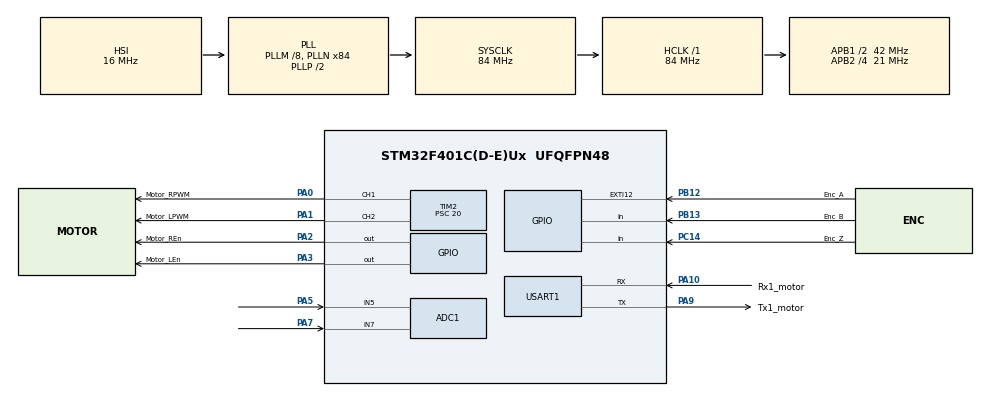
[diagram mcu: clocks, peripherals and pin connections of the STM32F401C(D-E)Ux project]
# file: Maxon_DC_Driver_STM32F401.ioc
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ADC1.Channel-0\#ChannelRegularConversion=ADC_CHANNEL_5
ADC1.Channel-1\#ChannelRegularConversion=ADC_CHANNEL_7
ADC1.ClockPrescaler=ADC_CLOCK_SYNC_PCLK_DIV8
ADC1.ContinuousConvMode=ENABLE
ADC1.DMAContinuousRequests=ENABLE
ADC1.EOCSelection=ADC_EOC_SEQ_CONV
ADC1.InjNumberOfConversion=0
ADC1.NbrOfConversion=2
ADC1.NbrOfConversionFlag=1
ADC1.Rank-0\#ChannelRegularConversion=1
ADC1.Rank-1\#ChannelRegularConversion=2
ADC1.SamplingTime-0\#ChannelRegularConversion=ADC_SAMPLETIME_480CYCLES
ADC1.SamplingTime-1\#ChannelRegularConversion=ADC_SAMPLETIME_480CYCLES
ADC1.ScanConvMode=ENABLE
ADC1.master=1
Dma.ADC1.0.Direction=DMA_PERIPH_TO_MEMORY
Dma.ADC1.0.FIFOMode=DMA_FIFOMODE_DISABLE
Dma.ADC1.0.Instance=DMA2_Stream0
Dma.ADC1.0.MemDataAlignment=DMA_MDATAALIGN_WORD
Dma.ADC1.0.MemInc=DMA_MINC_ENABLE
Dma.ADC1.0.Mode=DMA_CIRCULAR
Dma.ADC1.0.PeriphDataAlignment=DMA_PDATAALIGN_WORD
Dma.ADC1.0.PeriphInc=DMA_PINC_DISABLE
Dma.ADC1.0.Priority=DMA_PRIORITY_LOW
Dma.Request0=ADC1
Dma.Request1=USART1_RX
Dma.USART1_RX.1.Direction=DMA_PERIPH_TO_MEMORY
Dma.USART1_RX.1.FIFOMode=DMA_FIFOMODE_DISABLE
Dma.USART1_RX.1.Instance=DMA2_Stream2
Dma.USART1_RX.1.MemDataAlignment=DMA_MDATAALIGN_BYTE
Dma.USART1_RX.1.MemInc=DMA_MINC_ENABLE
Dma.USART1_RX.1.Mode=DMA_NORMAL
Dma.USART1_RX.1.PeriphDataAlignment=DMA_PDATAALIGN_BYTE
Dma.USART1_RX.1.PeriphInc=DMA_PINC_DISABLE
Dma.USART1_RX.1.Priority=DMA_PRIORITY_LOW
Mcu.Family=STM32F4
Mcu.Name=STM32F401C(D-E)Ux
Mcu.Package=UFQFPN48
NVIC.DMA2_Stream0_IRQn=true\:3\:0\:true\:false\:true\:false\:true\:true
NVIC.DMA2_Stream2_IRQn=true\:0\:0\:false\:false\:true\:false\:true\:true
NVIC.EXTI15_10_IRQn=true\:0\:0\:false\:false\:true\:true\:true\:true
NVIC.PriorityGroup=NVIC_PRIORITYGROUP_4
NVIC.USART1_IRQn=true\:0\:0\:false\:false\:true\:true\:true\:true
PA0-WKUP.GPIO_Label=Motor_RPWM
PA0-WKUP.Signal=S_TIM2_CH1_ETR
PA1.GPIO_Label=Motor_LPWM
PA1.Signal=S_TIM2_CH2
PA10.GPIO_Label=Rx1_motor
PA10.Mode=Asynchronous
PA10.Signal=USART1_RX
PA13.Mode=Serial_Wire
PA13.Signal=SYS_JTMS-SWDIO
PA14.Mode=Serial_Wire
PA14.Signal=SYS_JTCK-SWCLK
PA2.GPIO_Label=Motor_REn
PA2.Signal=GPIO_Output
PA3.GPIO_Label=Motor_LEn
PA3.Signal=GPIO_Output
PA5.Signal=ADCx_IN5
PA7.Signal=ADCx_IN7
PA9.GPIO_Label=Tx1_motor
PA9.Mode=Asynchronous
PA9.Signal=USART1_TX
PB12.GPIO_Label=Enc_A
PB12.Signal=GPXTI12
PB13.GPIO_Label=Enc_B
PB13.Signal=GPIO_Input
PC14-OSC32_IN.GPIO_Label=Enc_Z
PC14-OSC32_IN.Signal=GPIO_Input
PH0\ -\ OSC_IN.Mode=HSE-External-Oscillator
PH0\ -\ OSC_IN.Signal=RCC_OSC_IN
PH1\ -\ OSC_OUT.Mode=HSE-External-Oscillator
PH1\ -\ OSC_OUT.Signal=RCC_OSC_OUT
ProjectManager.HeapSize=0x200
ProjectManager.StackSize=0x400
ProjectManager.TargetToolchain=MDK-ARM V5.32
RCC.48MHZClocksFreq_Value=42000000
RCC.AHBFreq_Value=84000000
RCC.APB1CLKDivider=RCC_HCLK_DIV2
RCC.APB1Freq_Value=42000000
RCC.APB1TimFreq_Value=84000000
RCC.APB2CLKDivider=RCC_HCLK_DIV4
RCC.APB2Freq_Value=21000000
RCC.APB2TimFreq_Value=42000000
RCC.CortexFreq_Value=84000000
RCC.HCLKFreq_Value=84000000
RCC.HSE_VALUE=25000000
RCC.HSI_VALUE=16000000
RCC.LSE_VALUE=32768
RCC.PLLM=8
RCC.PLLN=84
RCC.SYSCLKFreq_VALUE=84000000
RCC.SYSCLKSource=RCC_SYSCLKSOURCE_PLLCLK
RCC.VCOOutputFreq_Value=168000000
SH.ADCx_IN5.0=ADC1_IN5,IN5
SH.ADCx_IN7.0=ADC1_IN7,IN7
SH.S_TIM2_CH1_ETR.0=TIM2_CH1,PWM Generation1 CH1
SH.S_TIM2_CH2.0=TIM2_CH2,PWM Generation2 CH2
TIM2.AutoReloadPreload=TIM_AUTORELOAD_PRELOAD_ENABLE
TIM2.Channel-PWM\ Generation1\ CH1=TIM_CHANNEL_1
TIM2.Channel-PWM\ Generation2\ CH2=TIM_CHANNEL_2
TIM2.Period=199
TIM2.Prescaler=20
TIM4.Prescaler=83
USART1.VirtualMode=VM_ASYNC
VP_TIM2_VS_ClockSourceINT.Mode=Internal
VP_TIM4_VS_ClockSourceINT.Mode=Internal
board=custom

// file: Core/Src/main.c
/* USER CODE BEGIN Header */
/**
  ******************************************************************************
  * @file           : main.c
  * @brief          : Main program body
  ******************************************************************************
  * @attention
  *
  * Copyright (c) 2023 STMicroelectronics.
  * All rights reserved.
  *
  * This software is licensed under terms that can be found in the LICENSE file
  * in the root directory of this software component.
  * If no LICENSE file comes with this software, it is provided AS-IS.
  *
  ******************************************************************************
  */
/* USER CODE END Header */
#include "main.h"

/* USER CODE BEGIN PD */
#define ENC_PULSE_PER_ROUND 6125
#define PI 3.14159
#define ENC_PULSE_2_RAD 0.00102582 // 2*PI/ENC_PULSE_PER_ROUND

#define CURRENT_CONTROL_MODE 1
#define POSITION_CONTROL_MODE 2
#define SPEED_CONTROL_MODE 3

#define TOTAL_PACKET_SIZE 8

#define LOADCELL_DATA_ID 1

#define SET_MOTOR_POSITION_SP_ID 21
#define SET_MOTOR_SPEED_SP_ID 22
#define SET_MOTOR_CURRENT_SP_ID 23
#define SET_MOTOR_EMERGENCY_STOP_ID 24
#define EMERGENCY_STOP_MOTOR_ID 27

/* USER CODE END PD */

 ADC_HandleTypeDef hadc1;
DMA_HandleTypeDef hdma_adc1;

TIM_HandleTypeDef htim2;
TIM_HandleTypeDef htim4;

UART_HandleTypeDef huart1;
DMA_HandleTypeDef hdma_usart1_rx;

/* USER CODE BEGIN PV */
uint32_t adc_buff[2];
float vsense = 3.3/4095;

double MOTOR_SIGN = 1;
double I_motor_acs712 , I_motor_MAX4080 =0;
double I_motor_acs712_filtered , I_motor_MAX4080_filtered =0 , alpha_adc_acs = 0.8 ,alpha_adc_max4080 = 0.6;

int32_t encoder_pulse = 0;
double sp_pos_rad , sp_speed , sp_current;
double encoder_rad = 0 , encoder_rad_last , encoder_speed , encoder_speed_filtered , encoder_speed_last;
double alpha_speed = 0.8;
uint32_t dt = 0, last_t1 = 0;

volatile uint8_t convCompleted = 0;

double motor_voltage_dir = 1.0;
int32_t pwm_i = 0;
uint16_t p1,p2;
float p = 0;

double control_sigal,ff_curr=0.5,err_curr_dot,pid_out,last_err_curr,err_curr_dot,err_curr,fb_curr,sum_err_curr=0 , current_sign=1;
double K_d_curr = 0.0 ,K_p_curr = 2.5 ,K_i_curr = 0.1;

double err_pos,err_pos_dot,sum_err_pos,ff_pos ;
double K_p_pos = 10 , K_d_pos = 0.1 , K_i_pos = 0;

double err_speed , err_speed_dot , last_err_speed , sum_err_speed , ff_speed = 0 ;
double K_p_speed = 2.0 , K_d_speed = 0.00 , K_i_speed = 2.0;

uint8_t UART1_rxBuffer[TOTAL_PACKET_SIZE], buff_1[TOTAL_PACKET_SIZE];
int is_uart1_single_byte_recieved = 1;
int32_t i, ii , i2;

double POWER_SUPLY_MAX_VOLTAGE = 16.0;
uint8_t control_mode = CURRENT_CONTROL_MODE;

/* USER CODE END PV */

void SystemClock_Config(void);
static void MX_GPIO_Init(void);
static void MX_DMA_Init(void);
static void MX_ADC1_Init(void);
static void MX_TIM4_Init(void);
static void MX_TIM2_Init(void);
static void MX_USART1_UART_Init(void);

/* USER CODE BEGIN 0 */
void HAL_GPIO_EXTI_Callback(uint16_t GPIO_Pin)
{
    if(GPIO_Pin == GPIO_PIN_12) // If The INT Source Is EXTI Line9 (A9 Pin)
    {
			if(HAL_GPIO_ReadPin(Enc_B_GPIO_Port , Enc_B_Pin) == 1)
				encoder_pulse++;
			else
				encoder_pulse--;
    }
}
void HAL_ADC_ConvCpltCallback(ADC_HandleTypeDef* hadc)
{
	I_motor_acs712 = 0.004959*((double)adc_buff[0]) -13.61;		// ASC is faster but not precise
	I_motor_MAX4080 = 0.0008734*((double)adc_buff[1]) -0.01224 ;	// MAX4080 is more precise but has RC filter
	I_motor_acs712_filtered = alpha_adc_acs*I_motor_acs712_filtered + (1.0 - alpha_adc_acs)*I_motor_acs712;
	I_motor_MAX4080_filtered = alpha_adc_max4080*I_motor_MAX4080_filtered + (1.0 - alpha_adc_max4080)*I_motor_MAX4080;
}

double saturation_f(double a , double min_ , double max_)
{
	if (a > max_)
		return max_;
	else if (a < min_)
		return  min_;
	else
		return a;
}
int32_t saturation_i(int32_t a , int32_t min_ , int32_t max_)
{
	if (a > max_)
		return max_;
	else if (a < min_)
		return  min_;
	else
		return a;
}
double abs_f(double a)
{
		if (a<0)
			return -a;
		return a;
}

void set_motor_percent(double p )	// p --> -100 to 100
{
		if (p > 0)
			motor_voltage_dir = 1;
		else if (p < 0)
			motor_voltage_dir = -1;

	double pwm = p*2.0;		// p --> -200 to 200
	if(pwm > 0){
			pwm_i = (int32_t)pwm;
			pwm_i = saturation_i(pwm_i , 0 , 200);	// PWM  0 --> 200
		__HAL_TIM_SetCompare(&htim2, TIM_CHANNEL_1 , pwm_i);		// R_PWM  0 --> 200
		__HAL_TIM_SetCompare(&htim2, TIM_CHANNEL_2 , 0);		// L_PWM  0 --> 200
	}else{
		pwm_i = (int32_t)-pwm;
		pwm_i = saturation_i(pwm_i , 0 , 200);	// PWM  0 --> 200
		__HAL_TIM_SetCompare(&htim2, TIM_CHANNEL_1 , 0);		// R_PWM  0 --> 200
		__HAL_TIM_SetCompare(&htim2, TIM_CHANNEL_2 , pwm_i);		// L_PWM  0 --> 200
	}
}
void set_motor_voltage(double v)		// voltage to percent
{
	set_motor_percent(100.0*v/POWER_SUPLY_MAX_VOLTAGE);
}

void set_motor_enable(int en)
{
	if (en == 1)
	{
		HAL_GPIO_WritePin(Motor_LEn_GPIO_Port , Motor_LEn_Pin , GPIO_PIN_SET);
		HAL_GPIO_WritePin(Motor_REn_GPIO_Port , Motor_REn_Pin , GPIO_PIN_SET);
	} else {
		HAL_GPIO_WritePin(Motor_LEn_GPIO_Port , Motor_LEn_Pin , GPIO_PIN_RESET);
		HAL_GPIO_WritePin(Motor_REn_GPIO_Port , Motor_REn_Pin , GPIO_PIN_RESET);
	}
}

void push_to_arr(uint8_t* arr , uint8_t  len , uint8_t c)
{
	for(int i = 0; i<len-1 ;i++)
	{
		arr[i] = arr[i+1];
	}
	arr[len-1] = c;
}
uint8_t check_packet(uint8_t* buf)
{
	if (buf[0]==0xAA && buf[1]==0xAA && buf[7]==0xBB)
		return 1;
	else
		return 0;
}
void read_packet_data(uint8_t* buf)
{
	uint8_t command = buf[2] ;
	int32_t value = (int32_t)((buf[3]<<24) | (buf[4]<<16) | (buf[5]<<8) | (buf[6]));
	if (command == SET_MOTOR_POSITION_SP_ID)
	{
		control_mode = POSITION_CONTROL_MODE;
		sp_pos_rad = ((double)(value))/1000.0;
	}
	else if(command == SET_MOTOR_SPEED_SP_ID)
	{
		control_mode =  SPEED_CONTROL_MODE;
		sp_speed = ((double)(value))/1000.0;
	}
	else if(command == SET_MOTOR_CURRENT_SP_ID)
	{
		control_mode = CURRENT_CONTROL_MODE;
		sp_current = ((double)(value))/1000.0;
	}
	else if(command == EMERGENCY_STOP_MOTOR_ID)
	{
		set_motor_voltage(0);
		set_motor_enable(0);
	}

}

void HAL_UART_RxCpltCallback(UART_HandleTypeDef *huart)
{

	if (huart->Instance == USART1) { 		// MCU
		if (is_uart1_single_byte_recieved)
		{

			push_to_arr(buff_1 , TOTAL_PACKET_SIZE , UART1_rxBuffer[0]);

			if (check_packet(buff_1))	// correct packet recieved
			{
				read_packet_data(buff_1);
				is_uart1_single_byte_recieved = 0;
				HAL_UART_Receive_DMA(&huart1, UART1_rxBuffer, TOTAL_PACKET_SIZE);
				return ;
			}
			is_uart1_single_byte_recieved = 1;
			HAL_UART_Receive_DMA(&huart1, UART1_rxBuffer, 1);
		}
		else {
			if (check_packet(UART1_rxBuffer))	// correct packet recieved
			{
				i++;
				read_packet_data(UART1_rxBuffer);
				HAL_UART_Receive_DMA(&huart1, UART1_rxBuffer, TOTAL_PACKET_SIZE);
				return ;
			}
			is_uart1_single_byte_recieved = 1;
			HAL_UART_Receive_DMA(&huart1, UART1_rxBuffer, 1);
		}

	}

}
/* USER CODE END 0 */

int main(void)
{

  /* MCU Configuration--------------------------------------------------------*/

  /* Reset of all peripherals, Initializes the Flash interface and the Systick. */
  HAL_Init();

  /* Configure the system clock */
  SystemClock_Config();

  /* Initialize all configured peripherals */
  MX_GPIO_Init();
  MX_DMA_Init();
  MX_ADC1_Init();
  MX_TIM4_Init();
  MX_TIM2_Init();
  MX_USART1_UART_Init();
  /* USER CODE BEGIN 2 */

	HAL_TIM_Base_Start(&htim4);
	HAL_ADC_Start_DMA(&hadc1 , adc_buff , 2);
	HAL_TIM_PWM_Start(&htim2, TIM_CHANNEL_1);
	HAL_TIM_PWM_Start(&htim2, TIM_CHANNEL_2);
	__HAL_TIM_SetCompare(&htim2, TIM_CHANNEL_1 , 0);
	__HAL_TIM_SetCompare(&htim2, TIM_CHANNEL_2 , 0);

	HAL_UART_Receive_DMA(&huart1 , UART1_rxBuffer , 1);
	//HAL_UART_Receive_IT(&huart1 , UART1_rxBuffer , 1);

	set_motor_enable(1);

  /* USER CODE END 2 */

  /* Infinite loop */
  /* USER CODE BEGIN WHILE */
  while (1)
  {
		//HAL_UART_Receive_IT(&huart1 , UART1_rxBuffer , 1);

		//set_motor_voltage(p);

		// loop time
		dt = __HAL_TIM_GET_COUNTER(&htim4) - last_t1;
		__HAL_TIM_SetCounter(&htim4 , 0);

		// update variable
		encoder_rad_last = encoder_rad;
		encoder_rad = encoder_pulse*ENC_PULSE_2_RAD;
		encoder_speed = 1000000.0*(encoder_rad - encoder_rad_last)/((double)dt);
		encoder_speed_filtered = alpha_speed*encoder_speed_filtered + (1.0 - alpha_speed)*encoder_speed;

		// Control
		if (control_mode == CURRENT_CONTROL_MODE){
			if (sp_current >= 0)
				current_sign = 1.0;
			else
				current_sign = -1.0;

			//motor_voltage_dir
			fb_curr = current_sign*(0.0*I_motor_acs712_filtered + 1.0*I_motor_MAX4080_filtered);
			//err_curr = abs_f(sp_current) - fb_curr;
			err_curr = sp_current - fb_curr;
			err_curr_dot = 1000000.0*(err_curr - last_err_curr)/((double)dt);
			last_err_curr = err_curr;
			sum_err_curr = saturation_f(sum_err_curr + err_curr*((double)dt)/1000000.0 , -1.0 , 1.0);

			pid_out = K_p_curr*err_curr + K_d_curr*err_curr_dot + K_i_curr*sum_err_curr;
			ff_curr = (sp_current>0.01)*(0.9542*sp_current + 1.694) + (sp_current < -0.01)*(0.8944*sp_current - 1.708) ;

			//TODO:  bug on change set point sign
			control_sigal = pid_out + ff_curr;		// volt
			set_motor_voltage(MOTOR_SIGN*control_sigal);

		}
		else if (control_mode == POSITION_CONTROL_MODE){
			err_pos = sp_pos_rad - encoder_rad;
			err_pos_dot = -encoder_speed;
			sum_err_pos = saturation_f(sum_err_pos + err_pos*((double)dt)/1000000.0 , -1.0 , 1.0);

			pid_out = K_p_pos*err_pos + K_d_pos*err_pos_dot + K_i_pos*sum_err_pos;
			ff_pos = 0;

			control_sigal = pid_out + ff_pos;		// volt
			set_motor_voltage(MOTOR_SIGN*control_sigal);
		}
		else if (control_mode == SPEED_CONTROL_MODE){

			err_speed = sp_speed - encoder_speed_filtered;
			err_speed_dot = 1000000.0*(err_speed - last_err_speed)/((double)dt);
			last_err_speed = err_speed;
			sum_err_speed = saturation_f(sum_err_speed + err_speed*((double)dt)/1000000.0 , -1.0 , 1.0);

			pid_out = K_p_speed*err_speed + K_d_speed*err_speed_dot + K_i_speed*sum_err_speed;
			ff_speed = (sp_speed > 0.2)*(0.3785*(sp_speed) + 1.36) + (sp_speed < -0.2)*(0.3667*(sp_speed) - 1.07);

			control_sigal = pid_out + ff_speed;		// volt
			set_motor_voltage(MOTOR_SIGN*control_sigal);
		}

		// loop delay
		HAL_Delay(0);

    /* USER CODE END WHILE */

  }
}

void SystemClock_Config(void)
{
  RCC_OscInitTypeDef RCC_OscInitStruct = {0};
  RCC_ClkInitTypeDef RCC_ClkInitStruct = {0};

  /** Configure the main internal regulator output voltage
  */
  __HAL_RCC_PWR_CLK_ENABLE();
  __HAL_PWR_VOLTAGESCALING_CONFIG(PWR_REGULATOR_VOLTAGE_SCALE2);

  /** Initializes the RCC Oscillators according to the specified parameters
  * in the RCC_OscInitTypeDef structure.
  */
  RCC_OscInitStruct.OscillatorType = RCC_OSCILLATORTYPE_HSI;
  RCC_OscInitStruct.HSIState = RCC_HSI_ON;
  RCC_OscInitStruct.HSICalibrationValue = RCC_HSICALIBRATION_DEFAULT;
  RCC_OscInitStruct.PLL.PLLState = RCC_PLL_ON;
  RCC_OscInitStruct.PLL.PLLSource = RCC_PLLSOURCE_HSI;
  RCC_OscInitStruct.PLL.PLLM = 8;
  RCC_OscInitStruct.PLL.PLLN = 84;
  RCC_OscInitStruct.PLL.PLLP = RCC_PLLP_DIV2;
  RCC_OscInitStruct.PLL.PLLQ = 4;
  if (HAL_RCC_OscConfig(&RCC_OscInitStruct) != HAL_OK)
  {
    Error_Handler();
  }

  /** Initializes the CPU, AHB and APB buses clocks
  */
  RCC_ClkInitStruct.ClockType = RCC_CLOCKTYPE_HCLK|RCC_CLOCKTYPE_SYSCLK
                              |RCC_CLOCKTYPE_PCLK1|RCC_CLOCKTYPE_PCLK2;
  RCC_ClkInitStruct.SYSCLKSource = RCC_SYSCLKSOURCE_PLLCLK;
  RCC_ClkInitStruct.AHBCLKDivider = RCC_SYSCLK_DIV1;
  RCC_ClkInitStruct.APB1CLKDivider = RCC_HCLK_DIV2;
  RCC_ClkInitStruct.APB2CLKDivider = RCC_HCLK_DIV4;

  if (HAL_RCC_ClockConfig(&RCC_ClkInitStruct, FLASH_LATENCY_2) != HAL_OK)
  {
    Error_Handler();
  }
}

static void MX_ADC1_Init(void)
{

  ADC_ChannelConfTypeDef sConfig = {0};

  /** Configure the global features of the ADC (Clock, Resolution, Data Alignment and number of conversion)
  */
  hadc1.Instance = ADC1;
  hadc1.Init.ClockPrescaler = ADC_CLOCK_SYNC_PCLK_DIV8;
  hadc1.Init.Resolution = ADC_RESOLUTION_12B;
  hadc1.Init.ScanConvMode = ENABLE;
  hadc1.Init.ContinuousConvMode = ENABLE;
  hadc1.Init.DiscontinuousConvMode = DISABLE;
  hadc1.Init.ExternalTrigConvEdge = ADC_EXTERNALTRIGCONVEDGE_NONE;
  hadc1.Init.ExternalTrigConv = ADC_SOFTWARE_START;
  hadc1.Init.DataAlign = ADC_DATAALIGN_RIGHT;
  hadc1.Init.NbrOfConversion = 2;
  hadc1.Init.DMAContinuousRequests = ENABLE;
  hadc1.Init.EOCSelection = ADC_EOC_SEQ_CONV;
  if (HAL_ADC_Init(&hadc1) != HAL_OK)
  {
    Error_Handler();
  }

  /** Configure for the selected ADC regular channel its corresponding rank in the sequencer and its sample time.
  */
  sConfig.Channel = ADC_CHANNEL_5;
  sConfig.Rank = 1;
  sConfig.SamplingTime = ADC_SAMPLETIME_480CYCLES;
  if (HAL_ADC_ConfigChannel(&hadc1, &sConfig) != HAL_OK)
  {
    Error_Handler();
  }

  /** Configure for the selected ADC regular channel its corresponding rank in the sequencer and its sample time.
  */
  sConfig.Channel = ADC_CHANNEL_7;
  sConfig.Rank = 2;
  if (HAL_ADC_ConfigChannel(&hadc1, &sConfig) != HAL_OK)
  {
    Error_Handler();
  }

}

static void MX_TIM2_Init(void)
{

  TIM_ClockConfigTypeDef sClockSourceConfig = {0};
  TIM_MasterConfigTypeDef sMasterConfig = {0};
  TIM_OC_InitTypeDef sConfigOC = {0};

  htim2.Instance = TIM2;
  htim2.Init.Prescaler = 20;
  htim2.Init.CounterMode = TIM_COUNTERMODE_UP;
  htim2.Init.Period = 199;
  htim2.Init.ClockDivision = TIM_CLOCKDIVISION_DIV1;
  htim2.Init.AutoReloadPreload = TIM_AUTORELOAD_PRELOAD_ENABLE;
  if (HAL_TIM_Base_Init(&htim2) != HAL_OK)
  {
    Error_Handler();
  }
  sClockSourceConfig.ClockSource = TIM_CLOCKSOURCE_INTERNAL;
  if (HAL_TIM_ConfigClockSource(&htim2, &sClockSourceConfig) != HAL_OK)
  {
    Error_Handler();
  }
  if (HAL_TIM_PWM_Init(&htim2) != HAL_OK)
  {
    Error_Handler();
  }
  sMasterConfig.MasterOutputTrigger = TIM_TRGO_RESET;
  sMasterConfig.MasterSlaveMode = TIM_MASTERSLAVEMODE_DISABLE;
  if (HAL_TIMEx_MasterConfigSynchronization(&htim2, &sMasterConfig) != HAL_OK)
  {
    Error_Handler();
  }
  sConfigOC.OCMode = TIM_OCMODE_PWM1;
  sConfigOC.Pulse = 0;
  sConfigOC.OCPolarity = TIM_OCPOLARITY_HIGH;
  sConfigOC.OCFastMode = TIM_OCFAST_DISABLE;
  if (HAL_TIM_PWM_ConfigChannel(&htim2, &sConfigOC, TIM_CHANNEL_1) != HAL_OK)
  {
    Error_Handler();
  }
  if (HAL_TIM_PWM_ConfigChannel(&htim2, &sConfigOC, TIM_CHANNEL_2) != HAL_OK)
  {
    Error_Handler();
  }
  HAL_TIM_MspPostInit(&htim2);

}

static void MX_TIM4_Init(void)
{

  TIM_ClockConfigTypeDef sClockSourceConfig = {0};
  TIM_MasterConfigTypeDef sMasterConfig = {0};

  htim4.Instance = TIM4;
  htim4.Init.Prescaler = 83;
  htim4.Init.CounterMode = TIM_COUNTERMODE_UP;
  htim4.Init.Period = 65535;
  htim4.Init.ClockDivision = TIM_CLOCKDIVISION_DIV1;
  htim4.Init.AutoReloadPreload = TIM_AUTORELOAD_PRELOAD_DISABLE;
  if (HAL_TIM_Base_Init(&htim4) != HAL_OK)
  {
    Error_Handler();
  }
  sClockSourceConfig.ClockSource = TIM_CLOCKSOURCE_INTERNAL;
  if (HAL_TIM_ConfigClockSource(&htim4, &sClockSourceConfig) != HAL_OK)
  {
    Error_Handler();
  }
  sMasterConfig.MasterOutputTrigger = TIM_TRGO_RESET;
  sMasterConfig.MasterSlaveMode = TIM_MASTERSLAVEMODE_DISABLE;
  if (HAL_TIMEx_MasterConfigSynchronization(&htim4, &sMasterConfig) != HAL_OK)
  {
    Error_Handler();
  }

}

static void MX_USART1_UART_Init(void)
{

  huart1.Instance = USART1;
  huart1.Init.BaudRate = 115200;
  huart1.Init.WordLength = UART_WORDLENGTH_8B;
  huart1.Init.StopBits = UART_STOPBITS_1;
  huart1.Init.Parity = UART_PARITY_NONE;
  huart1.Init.Mode = UART_MODE_TX_RX;
  huart1.Init.HwFlowCtl = UART_HWCONTROL_NONE;
  huart1.Init.OverSampling = UART_OVERSAMPLING_16;
  if (HAL_UART_Init(&huart1) != HAL_OK)
  {
    Error_Handler();
  }

}

static void MX_DMA_Init(void)
{

  /* DMA controller clock enable */
  __HAL_RCC_DMA2_CLK_ENABLE();

  /* DMA interrupt init */
  /* DMA2_Stream0_IRQn interrupt configuration */
  HAL_NVIC_SetPriority(DMA2_Stream0_IRQn, 3, 0);
  HAL_NVIC_EnableIRQ(DMA2_Stream0_IRQn);
  /* DMA2_Stream2_IRQn interrupt configuration */
  HAL_NVIC_SetPriority(DMA2_Stream2_IRQn, 0, 0);
  HAL_NVIC_EnableIRQ(DMA2_Stream2_IRQn);

}

static void MX_GPIO_Init(void)
{
  GPIO_InitTypeDef GPIO_InitStruct = {0};

  /* GPIO Ports Clock Enable */
  __HAL_RCC_GPIOC_CLK_ENABLE();
  __HAL_RCC_GPIOH_CLK_ENABLE();
  __HAL_RCC_GPIOA_CLK_ENABLE();
  __HAL_RCC_GPIOB_CLK_ENABLE();

  /*Configure GPIO pin Output Level */
  HAL_GPIO_WritePin(GPIOA, Motor_REn_Pin|Motor_LEn_Pin, GPIO_PIN_RESET);

  /*Configure GPIO pin : Enc_Z_Pin */
  GPIO_InitStruct.Pin = Enc_Z_Pin;
  GPIO_InitStruct.Mode = GPIO_MODE_INPUT;
  GPIO_InitStruct.Pull = GPIO_NOPULL;
  HAL_GPIO_Init(Enc_Z_GPIO_Port, &GPIO_InitStruct);

  /*Configure GPIO pins : Motor_REn_Pin Motor_LEn_Pin */
  GPIO_InitStruct.Pin = Motor_REn_Pin|Motor_LEn_Pin;
  GPIO_InitStruct.Mode = GPIO_MODE_OUTPUT_PP;
  GPIO_InitStruct.Pull = GPIO_NOPULL;
  GPIO_InitStruct.Speed = GPIO_SPEED_FREQ_LOW;
  HAL_GPIO_Init(GPIOA, &GPIO_InitStruct);

  /*Configure GPIO pin : Enc_A_Pin */
  GPIO_InitStruct.Pin = Enc_A_Pin;
  GPIO_InitStruct.Mode = GPIO_MODE_IT_RISING;
  GPIO_InitStruct.Pull = GPIO_NOPULL;
  HAL_GPIO_Init(Enc_A_GPIO_Port, &GPIO_InitStruct);

  /*Configure GPIO pin : Enc_B_Pin */
  GPIO_InitStruct.Pin = Enc_B_Pin;
  GPIO_InitStruct.Mode = GPIO_MODE_INPUT;
  GPIO_InitStruct.Pull = GPIO_NOPULL;
  HAL_GPIO_Init(Enc_B_GPIO_Port, &GPIO_InitStruct);

  /* EXTI interrupt init*/
  HAL_NVIC_SetPriority(EXTI15_10_IRQn, 0, 0);
  HAL_NVIC_EnableIRQ(EXTI15_10_IRQn);

}

void Error_Handler(void)
{
  __disable_irq();
  while (1)
  {
  }
}
